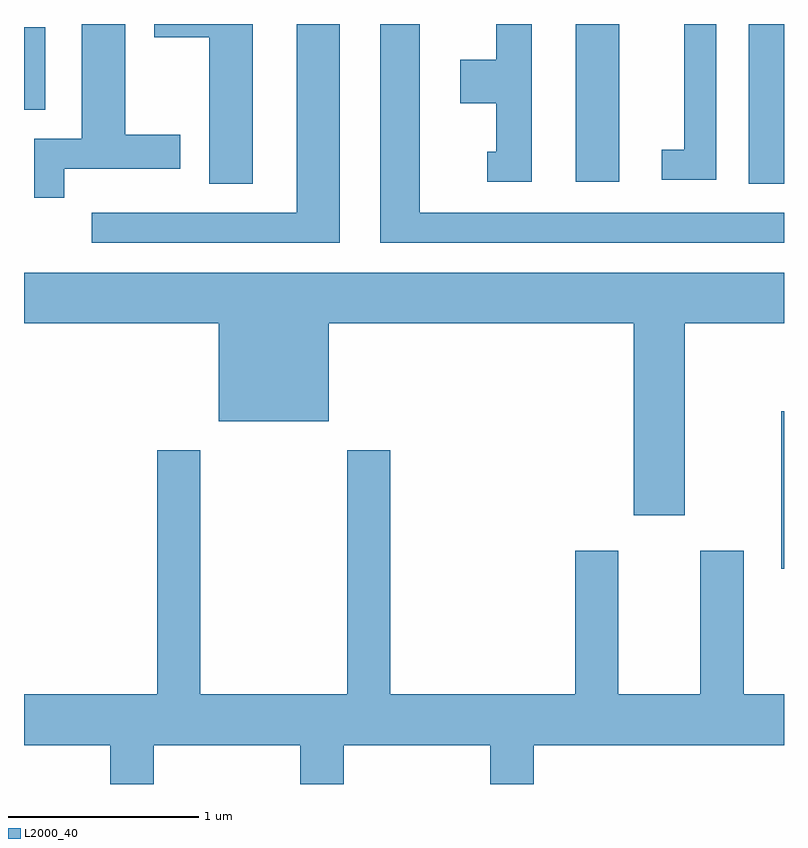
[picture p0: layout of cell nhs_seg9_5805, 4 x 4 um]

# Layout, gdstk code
import gdstk
lib = gdstk.Library(unit=1e-6, precision=1e-09)
def R(c, l, rs):  # rectangles x0, y0, x1, y1
    for r in rs: c.add(gdstk.rectangle(r[:2], r[2:], *l))
def P(c, l, *ps):  # polygons
    for p in ps: c.add(gdstk.Polygon(p, *l))
L2000_40 = (2000, 40)

nhs_seg9_5805 = lib.new_cell('nhs_seg9_5805')
R(nhs_seg9_5805, L2000_40, [(359.596,2061.566,359.611,2062.394), (359.426,2063.591,359.611,2064.432), (358.516,2063.601,358.744,2064.432), (355.611,2063.981,355.724,2064.414)])
P(nhs_seg9_5805, L2000_40, [(359.611,2063.439),(357.694,2063.439),(357.694,2064.432),(357.486,2064.432),(357.486,2063.281),(359.611,2063.281)],
  [(356.814,2064.432),(356.296,2064.432),(356.296,2064.361),(356.586,2064.361),(356.586,2063.591),(356.814,2063.591)],
  [(359.254,2064.432),(359.086,2064.432),(359.086,2063.769),(358.968,2063.769),(358.968,2063.611),(359.254,2063.611)],
  [(355.824,2063.671),(356.434,2063.671),(356.434,2063.849),(356.144,2063.849),(356.144,2064.432),(355.916,2064.432),(355.916,2063.829),(355.666,2063.829),(355.666,2063.518),(355.824,2063.518)],
  [(357.274,2064.432),(357.046,2064.432),(357.046,2063.439),(355.968,2063.439),(355.968,2063.281),(357.274,2063.281)],
  [(358.284,2064.432),(358.096,2064.432),(358.096,2064.244),(357.906,2064.244),(357.906,2064.016),(358.096,2064.016),(358.096,2063.759),(358.048,2063.759),(358.048,2063.601),(358.284,2063.601)],
  [(359.089,2062.856),(359.611,2062.856),(359.611,2063.124),(355.611,2063.124),(355.611,2062.856),(356.636,2062.856),(356.636,2062.341),(357.214,2062.341),(357.214,2062.856),(358.821,2062.856),(358.821,2061.846),(359.089,2061.846)],
  [(356.294,2060.636),(357.066,2060.636),(357.066,2060.432),(357.294,2060.432),(357.294,2060.636),(358.066,2060.636),(358.066,2060.432),(358.294,2060.432),(358.294,2060.636),(359.611,2060.636),(359.611,2060.904),(359.399,2060.904),(359.399,2061.659),(359.171,2061.659),(359.171,2060.904),(358.739,2060.904),(358.739,2061.659),(358.511,2061.659),(358.511,2060.904),(357.539,2060.904),(357.539,2062.189),(357.311,2062.189),(357.311,2060.904),(356.539,2060.904),(356.539,2062.189),(356.311,2062.189),(356.311,2060.904),(355.611,2060.904),(355.611,2060.636),(356.066,2060.636),(356.066,2060.432),(356.294,2060.432)])

lib.write_gds('nhs_seg9_5805.gds')
